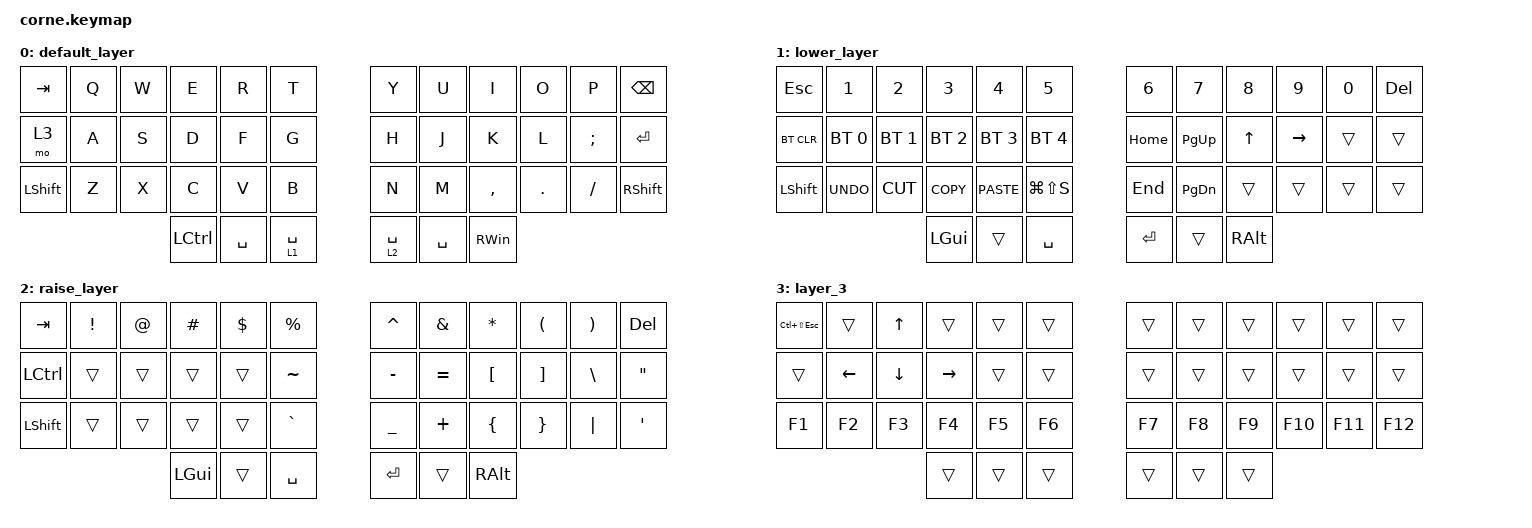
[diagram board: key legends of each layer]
/*
 * Copyright (c) 2020 The ZMK Contributors
 *
 * SPDX-License-Identifier: MIT
 */

#include <behaviors.dtsi>
#include <dt-bindings/zmk/bt.h>
#include <dt-bindings/zmk/keys.h>

/ {
    keymap {
        compatible = "zmk,keymap";

        default_layer {
            // -----------------------------------------------------------------------------------------
            // |  TAB |  Q  |  W  |  E  |  R  |  T  |   |  Y  |  U   |  I  |  O  |  P  | BKSP |
            // | CTRL |  A  |  S  |  D  |  F  |  G  |   |  H  |  J   |  K  |  L  |  ;  |  '   |
            // | SHFT |  Z  |  X  |  C  |  V  |  B  |   |  N  |  M   |  ,  |  .  |  /  | ESC  |
            //                    | GUI | LWR | SPC |   | ENT | RSE  | ALT |

            bindings = <
&kp TAB    &kp Q  &kp W  &kp E      &kp R      &kp T          &kp Y        &kp U      &kp I          &kp O    &kp P     &kp BSPC
&mo 3      &kp A  &kp S  &kp D      &kp F      &kp G          &kp H        &kp J      &kp K          &kp L    &kp SEMI  &kp ENTER
&kp LSHFT  &kp Z  &kp X  &kp C      &kp V      &kp B          &kp N        &kp M      &kp COMMA      &kp DOT  &kp FSLH  &kp RIGHT_SHIFT
                         &kp LCTRL  &kp SPACE  &lt 1 SPACE    &lt 2 SPACE  &kp SPACE  &kp RIGHT_WIN
            >;
        };

        lower_layer {
            // -----------------------------------------------------------------------------------------
            // |  TAB |  1  |  2  |  3  |  4  |  5  |   |  6  |  7  |  8  |  9  |  0  | BKSP |
            // | BTCLR| BT1 | BT2 | BT3 | BT4 | BT5 |   | LFT | DWN |  UP | RGT |     |      |
            // | SHFT |     |     |     |     |     |   |     |     |     |     |     |      |
            //                    | GUI |     | SPC |   | ENT |     | ALT |

            bindings = <
&kp ESCAPE  &kp N1        &kp N2        &kp N3        &kp N4        &kp N5           &kp N6    &kp N7         &kp N8    &kp N9     &kp N0  &kp DEL
&bt BT_CLR  &bt BT_SEL 0  &bt BT_SEL 1  &bt BT_SEL 2  &bt BT_SEL 3  &bt BT_SEL 4     &kp HOME  &kp PAGE_UP    &kp UP    &kp RIGHT  &trans  &trans
&kp LSHFT   &kp K_UNDO    &kp K_CUT     &kp K_COPY    &kp K_PASTE   &kp LG(LS(S))    &kp END   &kp PAGE_DOWN  &trans    &trans     &trans  &trans
                                        &kp LGUI      &trans        &kp SPACE        &kp RET   &trans         &kp RALT
            >;
        };

        raise_layer {
            // -----------------------------------------------------------------------------------------
            // |  TAB |  !  |  @  |  #  |  $  |  %  |   |  ^  |  &  |  *  |  (  |  )  | BKSP |
            // | CTRL |     |     |     |     |     |   |  -  |  =  |  [  |  ]  |  \  |  `   |
            // | SHFT |     |     |     |     |     |   |  _  |  +  |  {  |  }  | "|" |  ~   |
            //                    | GUI |     | SPC |   | ENT |     | ALT |

            bindings = <
&kp TAB    &kp EXCL  &kp AT  &kp HASH  &kp DLLR  &kp PRCNT    &kp CARET  &kp AMPS   &kp ASTRK  &kp LPAR  &kp RPAR  &kp DELETE
&kp LCTRL  &trans    &trans  &trans    &trans    &kp TILDE    &kp MINUS  &kp EQUAL  &kp LBKT   &kp RBKT  &kp BSLH  &kp DOUBLE_QUOTES
&kp LSHFT  &trans    &trans  &trans    &trans    &kp GRAVE    &kp UNDER  &kp PLUS   &kp LBRC   &kp RBRC  &kp PIPE  &kp SINGLE_QUOTE
                             &kp LGUI  &trans    &kp SPACE    &kp RET    &trans     &kp RALT
            >;
        };

        layer_3 {
            bindings = <
&kp LC(LS(ESCAPE))  &trans          &kp UP_ARROW  &trans     &trans  &trans    &trans  &trans  &trans  &trans   &trans   &trans
&trans              &kp LEFT_ARROW  &kp DOWN      &kp RIGHT  &trans  &trans    &trans  &trans  &trans  &trans   &trans   &trans
&kp F1              &kp F2          &kp F3        &kp F4     &kp F5  &kp F6    &kp F7  &kp F8  &kp F9  &kp F10  &kp F11  &kp F12
                                                  &trans     &trans  &trans    &trans  &trans  &trans
            >;
        };
    };
};
